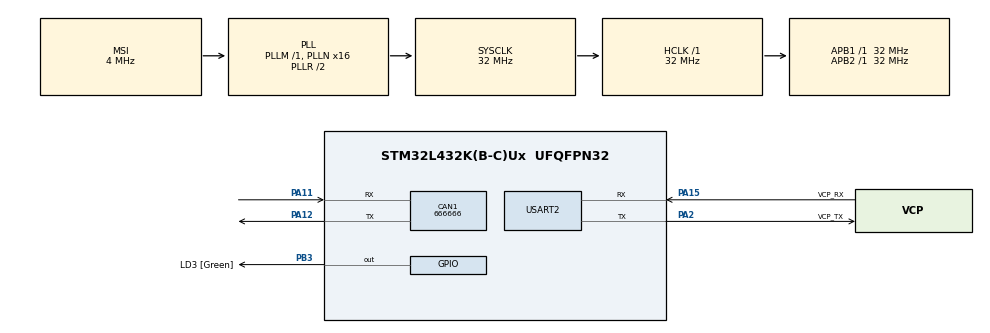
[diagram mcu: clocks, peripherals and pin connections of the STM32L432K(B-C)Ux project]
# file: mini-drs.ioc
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CAN1.CalculateBaudRate=666666
CAN1.CalculateTimeBit=1500
CAN1.CalculateTimeQuantum=500.0
CAN1.Mode=CAN_MODE_LOOPBACK
Mcu.Family=STM32L4
Mcu.Name=STM32L432K(B-C)Ux
Mcu.Package=UFQFPN32
NVIC.CAN1_RX0_IRQn=true\:0\:0\:false\:false\:true\:true\:true\:true
NVIC.PriorityGroup=NVIC_PRIORITYGROUP_4
PA0.GPIO_Label=MCO [High speed clock in]
PA0.Mode=HSE-External-Clock-Source-for-LittleOrca
PA0.Signal=RCC_CK_IN
PA11.Mode=CAN_Activate
PA11.Signal=CAN1_RX
PA12.Mode=CAN_Activate
PA12.Signal=CAN1_TX
PA13\ (JTMS-SWDIO).GPIO_Label=SWDIO
PA13\ (JTMS-SWDIO).Mode=Serial_Wire
PA13\ (JTMS-SWDIO).Signal=SYS_JTMS-SWDIO
PA14\ (JTCK-SWCLK).GPIO_Label=SWCLK
PA14\ (JTCK-SWCLK).Mode=Serial_Wire
PA14\ (JTCK-SWCLK).Signal=SYS_JTCK-SWCLK
PA15\ (JTDI).GPIO_Label=VCP_RX
PA15\ (JTDI).Mode=Asynchronous
PA15\ (JTDI).Signal=USART2_RX
PA2.GPIO_Label=VCP_TX
PA2.Mode=Asynchronous
PA2.Signal=USART2_TX
PB3\ (JTDO-TRACESWO).GPIO_Label=LD3 [Green]
PB3\ (JTDO-TRACESWO).Signal=GPIO_Output
PC14-OSC32_IN\ (PC14).Mode=LSE-External-Oscillator
PC14-OSC32_IN\ (PC14).Signal=RCC_OSC32_IN
PC15-OSC32_OUT\ (PC15).Mode=LSE-External-Oscillator
PC15-OSC32_OUT\ (PC15).Signal=RCC_OSC32_OUT
ProjectManager.HeapSize=0x200
ProjectManager.StackSize=0x400
ProjectManager.TargetToolchain=Makefile
RCC.AHBFreq_Value=32000000
RCC.APB1Freq_Value=32000000
RCC.APB1TimFreq_Value=32000000
RCC.APB2Freq_Value=32000000
RCC.APB2TimFreq_Value=32000000
RCC.CortexFreq_Value=32000000
RCC.HCLKFreq_Value=32000000
RCC.HSE_VALUE=8000000
RCC.HSI16_VALUE=16000000
RCC.HSI48_VALUE=48000000
RCC.HSI_VALUE=16000000
RCC.MSI_VALUE=4000000
RCC.PLLMUL=RCC_PLLMUL_4
RCC.PLLN=16
RCC.SYSCLKFreq_VALUE=32000000
RCC.SYSCLKSource=RCC_SYSCLKSOURCE_PLLCLK
RCC.VCOOutputFreq_Value=64000000
USART2.VirtualMode-Asynchronous=VM_ASYNC
board=NUCLEO-L432KC

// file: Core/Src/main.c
/* USER CODE BEGIN Header */
/**
  ******************************************************************************
  * @file           : main.c
  * @brief          : Main program body
  ******************************************************************************
  * @attention
  *
  * Copyright (c) 2025 STMicroelectronics.
  * All rights reserved.
  *
  * This software is licensed under terms that can be found in the LICENSE file
  * in the root directory of this software component.
  * If no LICENSE file comes with this software, it is provided AS-IS.
  *
  ******************************************************************************
  */
/* USER CODE END Header */
#include "main.h"

/* USER CODE BEGIN Includes */
#include "drs_app.h"
/* USER CODE END Includes */

CAN_HandleTypeDef hcan1;
UART_HandleTypeDef huart2;

/* USER CODE BEGIN PV */
/* CAN loopback test variables */
CAN_TxHeaderTypeDef TxHeader;
uint8_t  TxData[8];
uint32_t TxMailbox;

/* DRS scheduler variables */
static uint32_t last_drs_tick_ms = 0;
static const uint32_t DRS_TICK_INTERVAL_MS = 10;

/* Fake input generator variables */
static float fake_speed_kph = 0.0f;
static bool speed_ramp_up = true;
/* USER CODE END PV */

void SystemClock_Config(void);
static void MX_GPIO_Init(void);
static void MX_USART2_UART_Init(void);
static void MX_CAN1_Init(void);
/* USER CODE BEGIN PFP */
static void CAN_Loopback_Test_Start(void);
static void FakeInputs_Generate(void);
static void DrsApp_UpdateLED(void);
/* USER CODE END PFP */

int main(void)
{

  /* MCU Configuration--------------------------------------------------------*/

  /* Reset of all peripherals, Initializes the Flash interface and the Systick. */
  HAL_Init();

  /* Configure the system clock */
  SystemClock_Config();

  /* Initialize all configured peripherals */
  MX_GPIO_Init();
  MX_USART2_UART_Init();
  MX_CAN1_Init();

  /* USER CODE BEGIN 2 */
  /* Start simple CAN internal loopback test */
  CAN_Loopback_Test_Start();

  /* Initialize DRS controller */
  DrsApp_Init();

  /* Initialize scheduler */
  last_drs_tick_ms = HAL_GetTick();
  /* USER CODE END 2 */

  /* Infinite loop */
  while (1)
  {

    /* USER CODE BEGIN 3 */
    /* 10ms DRS scheduler */
    uint32_t current_time_ms = HAL_GetTick();
    if ((current_time_ms - last_drs_tick_ms) >= DRS_TICK_INTERVAL_MS) {
      /* Generate fake inputs */
      FakeInputs_Generate();

      /* Run DRS controller tick */
      DrsApp_Tick10ms();

      /* Update LED based on DRS state */
      DrsApp_UpdateLED();

      last_drs_tick_ms = current_time_ms;
    }
  }
  /* USER CODE END 3 */
}

void SystemClock_Config(void)
{
  RCC_OscInitTypeDef RCC_OscInitStruct = {0};
  RCC_ClkInitTypeDef RCC_ClkInitStruct = {0};

  /** Configure the main internal regulator output voltage
  */
  if (HAL_PWREx_ControlVoltageScaling(PWR_REGULATOR_VOLTAGE_SCALE1) != HAL_OK)
  {
    Error_Handler();
  }

  /** Configure LSE Drive Capability
  */
  HAL_PWR_EnableBkUpAccess();
  __HAL_RCC_LSEDRIVE_CONFIG(RCC_LSEDRIVE_LOW);

  /** Initializes the RCC Oscillators according to the specified parameters
  * in the RCC_OscInitTypeDef structure.
  */
  RCC_OscInitStruct.OscillatorType = RCC_OSCILLATORTYPE_LSE|RCC_OSCILLATORTYPE_MSI;
  RCC_OscInitStruct.LSEState = RCC_LSE_ON;
  RCC_OscInitStruct.MSIState = RCC_MSI_ON;
  RCC_OscInitStruct.MSICalibrationValue = 0;
  RCC_OscInitStruct.MSIClockRange = RCC_MSIRANGE_6;
  RCC_OscInitStruct.PLL.PLLState = RCC_PLL_ON;
  RCC_OscInitStruct.PLL.PLLSource = RCC_PLLSOURCE_MSI;
  RCC_OscInitStruct.PLL.PLLM = 1;
  RCC_OscInitStruct.PLL.PLLN = 16;
  RCC_OscInitStruct.PLL.PLLP = RCC_PLLP_DIV7;
  RCC_OscInitStruct.PLL.PLLQ = RCC_PLLQ_DIV2;
  RCC_OscInitStruct.PLL.PLLR = RCC_PLLR_DIV2;
  if (HAL_RCC_OscConfig(&RCC_OscInitStruct) != HAL_OK)
  {
    Error_Handler();
  }

  /** Initializes the CPU, AHB and APB buses clocks
  */
  RCC_ClkInitStruct.ClockType = RCC_CLOCKTYPE_HCLK|RCC_CLOCKTYPE_SYSCLK
                              |RCC_CLOCKTYPE_PCLK1|RCC_CLOCKTYPE_PCLK2;
  RCC_ClkInitStruct.SYSCLKSource = RCC_SYSCLKSOURCE_PLLCLK;
  RCC_ClkInitStruct.AHBCLKDivider = RCC_SYSCLK_DIV1;
  RCC_ClkInitStruct.APB1CLKDivider = RCC_HCLK_DIV1;
  RCC_ClkInitStruct.APB2CLKDivider = RCC_HCLK_DIV1;

  if (HAL_RCC_ClockConfig(&RCC_ClkInitStruct, FLASH_LATENCY_1) != HAL_OK)
  {
    Error_Handler();
  }

  /** Enable MSI Auto calibration
  */
  HAL_RCCEx_EnableMSIPLLMode();
}

static void MX_CAN1_Init(void)
{

  hcan1.Instance = CAN1;
  hcan1.Init.Prescaler = 16;
  hcan1.Init.Mode = CAN_MODE_LOOPBACK;          // Loopback mode for self-test
  hcan1.Init.SyncJumpWidth = CAN_SJW_1TQ;
  hcan1.Init.TimeSeg1 = CAN_BS1_1TQ;
  hcan1.Init.TimeSeg2 = CAN_BS2_1TQ;
  hcan1.Init.TimeTriggeredMode = DISABLE;
  hcan1.Init.AutoBusOff = DISABLE;
  hcan1.Init.AutoWakeUp = DISABLE;
  hcan1.Init.AutoRetransmission = DISABLE;
  hcan1.Init.ReceiveFifoLocked = DISABLE;
  hcan1.Init.TransmitFifoPriority = DISABLE;
  if (HAL_CAN_Init(&hcan1) != HAL_OK)
  {
    Error_Handler();
  }

}

static void MX_USART2_UART_Init(void)
{

  huart2.Instance = USART2;
  huart2.Init.BaudRate = 115200;
  huart2.Init.WordLength = UART_WORDLENGTH_8B;
  huart2.Init.StopBits = UART_STOPBITS_1;
  huart2.Init.Parity = UART_PARITY_NONE;
  huart2.Init.Mode = UART_MODE_TX_RX;
  huart2.Init.HwFlowCtl = UART_HWCONTROL_NONE;
  huart2.Init.OverSampling = UART_OVERSAMPLING_16;
  huart2.Init.OneBitSampling = UART_ONE_BIT_SAMPLE_DISABLE;
  huart2.AdvancedInit.AdvFeatureInit = UART_ADVFEATURE_NO_INIT;
  if (HAL_UART_Init(&huart2) != HAL_OK)
  {
    Error_Handler();
  }

}

static void MX_GPIO_Init(void)
{
  GPIO_InitTypeDef GPIO_InitStruct = {0};

  /* GPIO Ports Clock Enable */
  __HAL_RCC_GPIOC_CLK_ENABLE();
  __HAL_RCC_GPIOA_CLK_ENABLE();
  __HAL_RCC_GPIOB_CLK_ENABLE();

  /*Configure GPIO pin Output Level */
  HAL_GPIO_WritePin(LD3_GPIO_Port, LD3_Pin, GPIO_PIN_RESET);

  /*Configure GPIO pin : LD3_Pin */
  GPIO_InitStruct.Pin = LD3_Pin;
  GPIO_InitStruct.Mode = GPIO_MODE_OUTPUT_PP;
  GPIO_InitStruct.Pull = GPIO_NOPULL;
  GPIO_InitStruct.Speed = GPIO_SPEED_FREQ_LOW;
  HAL_GPIO_Init(LD3_GPIO_Port, &GPIO_InitStruct);

}

/* USER CODE BEGIN 4 */

/**
  * @brief  Generate fake inputs for DRS testing.
  *         Ramps speed from 0 to 60 kph and back over ~10 seconds.
  */
static void FakeInputs_Generate(void)
{
  const float SPEED_RAMP_RATE_KPH_PER_TICK = 0.06f;  // 0.06 kph per 10ms tick = 6 kph/sec
  const float MAX_SPEED_KPH = 60.0f;
  const float MIN_SPEED_KPH = 0.0f;

  /* Ramp speed up and down */
  if (speed_ramp_up) {
    fake_speed_kph += SPEED_RAMP_RATE_KPH_PER_TICK;
    if (fake_speed_kph >= MAX_SPEED_KPH) {
      fake_speed_kph = MAX_SPEED_KPH;
      speed_ramp_up = false;
    }
  } else {
    fake_speed_kph -= SPEED_RAMP_RATE_KPH_PER_TICK;
    if (fake_speed_kph <= MIN_SPEED_KPH) {
      fake_speed_kph = MIN_SPEED_KPH;
      speed_ramp_up = true;
    }
  }

  /* Set inputs: enable=true, brake=false, speed from ramp, ext_fault=false */
  DrsApp_SetInputs(true, false, fake_speed_kph, false);
}

/**
  * @brief  Update LED based on DRS state.
  *         OPEN -> LED ON, CLOSED/OPENING/CLOSING -> LED OFF
  */
static void DrsApp_UpdateLED(void)
{
  DrsState_C state = DrsApp_GetState();

  if (state == DRS_STATE_OPEN) {
    HAL_GPIO_WritePin(LD3_GPIO_Port, LD3_Pin, GPIO_PIN_SET);
  } else {
    /* CLOSED, OPENING, or CLOSING -> LED OFF */
    HAL_GPIO_WritePin(LD3_GPIO_Port, LD3_Pin, GPIO_PIN_RESET);
  }
}

/**
  * @brief  Configure filter, start CAN and send one test frame in loopback.
  */
static void CAN_Loopback_Test_Start(void)
{
  CAN_FilterTypeDef sFilterConfig;

  /* Accept all IDs into FIFO0 */
  sFilterConfig.FilterBank = 0;
  sFilterConfig.FilterMode = CAN_FILTERMODE_IDMASK;
  sFilterConfig.FilterScale = CAN_FILTERSCALE_32BIT;
  sFilterConfig.FilterIdHigh = 0x0000;
  sFilterConfig.FilterIdLow = 0x0000;
  sFilterConfig.FilterMaskIdHigh = 0x0000;
  sFilterConfig.FilterMaskIdLow = 0x0000;
  sFilterConfig.FilterFIFOAssignment = CAN_FILTER_FIFO0;
  sFilterConfig.FilterActivation = ENABLE;
  sFilterConfig.SlaveStartFilterBank = 14; // not critical for single CAN instance

  if (HAL_CAN_ConfigFilter(&hcan1, &sFilterConfig) != HAL_OK)
  {
    Error_Handler();
  }

  if (HAL_CAN_Start(&hcan1) != HAL_OK)
  {
    Error_Handler();
  }

  /* Enable RX FIFO0 message pending interrupt */
  if (HAL_CAN_ActivateNotification(&hcan1, CAN_IT_RX_FIFO0_MSG_PENDING) != HAL_OK)
  {
    Error_Handler();
  }

  /* Prepare a test frame: ID 0x123, 8 data bytes {1..8} */
  TxHeader.StdId = 0x123;
  TxHeader.IDE   = CAN_ID_STD;
  TxHeader.RTR   = CAN_RTR_DATA;
  TxHeader.DLC   = 8;
  TxHeader.TransmitGlobalTime = DISABLE;   // valid for L4 HAL

  TxData[0] = 1;
  TxData[1] = 2;
  TxData[2] = 3;
  TxData[3] = 4;
  TxData[4] = 5;
  TxData[5] = 6;
  TxData[6] = 7;
  TxData[7] = 8;

  if (HAL_CAN_AddTxMessage(&hcan1, &TxHeader, TxData, &TxMailbox) != HAL_OK)
  {
    Error_Handler();
  }
}

/**
  * @brief  CAN RX FIFO0 message pending callback.
  *         This will be called in loopback mode when our own frame is received.
  */
void HAL_CAN_RxFifo0MsgPendingCallback(CAN_HandleTypeDef *hcan)
{
  CAN_RxHeaderTypeDef RxHeader;
  uint8_t RxData[8];

  if (HAL_CAN_GetRxMessage(hcan, CAN_RX_FIFO0, &RxHeader, RxData) != HAL_OK)
  {
    Error_Handler();
  }

  /* Check that we received exactly what we sent */
  if (RxHeader.StdId == 0x123 &&
      RxHeader.DLC   == 8     &&
      RxData[0] == 1 &&
      RxData[1] == 2 &&
      RxData[2] == 3 &&
      RxData[3] == 4 &&
      RxData[4] == 5 &&
      RxData[5] == 6 &&
      RxData[6] == 7 &&
      RxData[7] == 8)
  {
    /* Success: turn LED ON */
    HAL_GPIO_WritePin(LD3_GPIO_Port, LD3_Pin, GPIO_PIN_SET);
  }
  else
  {
    /* Fail / unexpected frame: turn LED OFF */
    HAL_GPIO_WritePin(LD3_GPIO_Port, LD3_Pin, GPIO_PIN_RESET);
  }
}

/* USER CODE END 4 */

void Error_Handler(void)
{
  __disable_irq();
  while (1)
  {
  }
}
